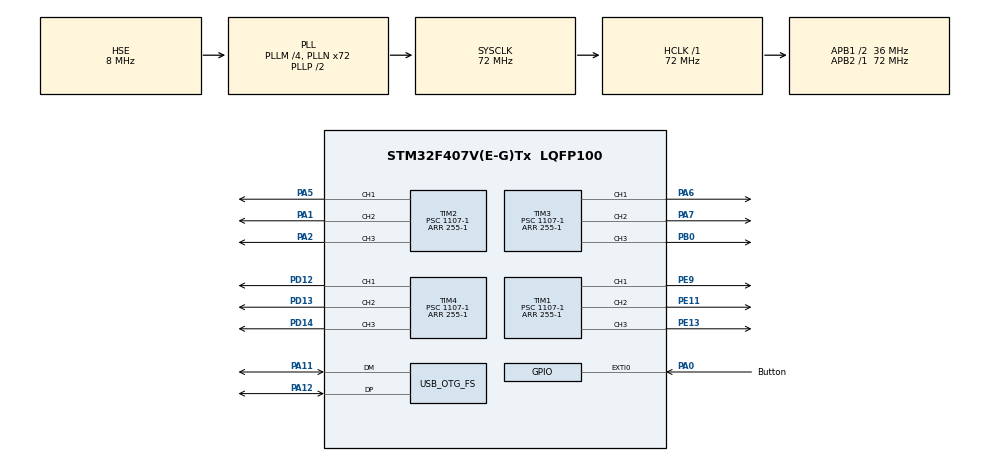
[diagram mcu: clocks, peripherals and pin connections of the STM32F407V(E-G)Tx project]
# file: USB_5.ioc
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Mcu.Family=STM32F4
Mcu.Name=STM32F407V(E-G)Tx
Mcu.Package=LQFP100
NVIC.EXTI0_IRQn=true\:0\:0\:false\:false\:true\:true\:true
NVIC.OTG_FS_IRQn=true\:0\:0\:false\:false\:true\:false\:true
NVIC.PriorityGroup=NVIC_PRIORITYGROUP_4
PA0-WKUP.GPIO_Label=Button
PA0-WKUP.Signal=GPXTI0
PA1.Signal=S_TIM2_CH2
PA11.Mode=Device_Only
PA11.Signal=USB_OTG_FS_DM
PA12.Mode=Device_Only
PA12.Signal=USB_OTG_FS_DP
PA2.Signal=S_TIM2_CH3
PA5.Signal=S_TIM2_CH1_ETR
PA6.Signal=S_TIM3_CH1
PA7.Signal=S_TIM3_CH2
PB0.Signal=S_TIM3_CH3
PD12.Signal=S_TIM4_CH1
PD13.Signal=S_TIM4_CH2
PD14.Signal=S_TIM4_CH3
PE11.Signal=S_TIM1_CH2
PE13.Signal=S_TIM1_CH3
PE9.Signal=S_TIM1_CH1
PH0-OSC_IN.Mode=HSE-External-Oscillator
PH0-OSC_IN.Signal=RCC_OSC_IN
PH1-OSC_OUT.Mode=HSE-External-Oscillator
PH1-OSC_OUT.Signal=RCC_OSC_OUT
ProjectManager.HeapSize=0x200
ProjectManager.StackSize=0x400
ProjectManager.TargetToolchain=SW4STM32
RCC.48MHZClocksFreq_Value=48000000
RCC.AHBFreq_Value=72000000
RCC.APB1CLKDivider=RCC_HCLK_DIV2
RCC.APB1Freq_Value=36000000
RCC.APB1TimFreq_Value=72000000
RCC.APB2Freq_Value=72000000
RCC.APB2TimFreq_Value=72000000
RCC.CortexFreq_Value=72000000
RCC.HCLKFreq_Value=72000000
RCC.HSE_VALUE=8000000
RCC.HSI_VALUE=16000000
RCC.LSE_VALUE=32768
RCC.PLLM=4
RCC.PLLN=72
RCC.PLLQ=3
RCC.SYSCLKFreq_VALUE=72000000
RCC.SYSCLKSource=RCC_SYSCLKSOURCE_PLLCLK
RCC.VCOOutputFreq_Value=144000000
SH.S_TIM1_CH1.0=TIM1_CH1,PWM Generation1 CH1
SH.S_TIM1_CH2.0=TIM1_CH2,PWM Generation2 CH2
SH.S_TIM1_CH3.0=TIM1_CH3,PWM Generation3 CH3
SH.S_TIM2_CH1_ETR.0=TIM2_CH1,PWM Generation1 CH1
SH.S_TIM2_CH2.0=TIM2_CH2,PWM Generation2 CH2
SH.S_TIM2_CH3.0=TIM2_CH3,PWM Generation3 CH3
SH.S_TIM3_CH1.0=TIM3_CH1,PWM Generation1 CH1
SH.S_TIM3_CH2.0=TIM3_CH2,PWM Generation2 CH2
SH.S_TIM3_CH3.0=TIM3_CH3,PWM Generation3 CH3
SH.S_TIM4_CH1.0=TIM4_CH1,PWM Generation1 CH1
SH.S_TIM4_CH2.0=TIM4_CH2,PWM Generation2 CH2
SH.S_TIM4_CH3.0=TIM4_CH3,PWM Generation3 CH3
TIM1.Channel-PWM\ Generation1\ CH1=TIM_CHANNEL_1
TIM1.Channel-PWM\ Generation2\ CH2=TIM_CHANNEL_2
TIM1.Channel-PWM\ Generation3\ CH3=TIM_CHANNEL_3
TIM1.Period=255-1
TIM1.Prescaler=1107-1
TIM2.Channel-PWM\ Generation1\ CH1=TIM_CHANNEL_1
TIM2.Channel-PWM\ Generation2\ CH2=TIM_CHANNEL_2
TIM2.Channel-PWM\ Generation3\ CH3=TIM_CHANNEL_3
TIM2.Period=255-1
TIM2.Prescaler=1107-1
TIM3.Channel-PWM\ Generation1\ CH1=TIM_CHANNEL_1
TIM3.Channel-PWM\ Generation2\ CH2=TIM_CHANNEL_2
TIM3.Channel-PWM\ Generation3\ CH3=TIM_CHANNEL_3
TIM3.Period=255-1
TIM3.Prescaler=1107-1
TIM4.Channel-PWM\ Generation1\ CH1=TIM_CHANNEL_1
TIM4.Channel-PWM\ Generation2\ CH2=TIM_CHANNEL_2
TIM4.Channel-PWM\ Generation3\ CH3=TIM_CHANNEL_3
TIM4.Period=255-1
TIM4.Prescaler=1107-1
USB_DEVICE.CLASS_NAME_FS=CDC
USB_DEVICE.VirtualMode-CDC_FS=Cdc
USB_DEVICE.VirtualModeFS=Cdc_FS
USB_OTG_FS.VirtualMode=Device_Only
VP_TIM1_VS_ClockSourceINT.Mode=Internal
VP_TIM2_VS_ClockSourceINT.Mode=Internal
VP_TIM3_VS_ClockSourceINT.Mode=Internal
VP_TIM4_VS_ClockSourceINT.Mode=Internal
VP_USB_DEVICE_VS_USB_DEVICE_CDC_FS.Mode=CDC_FS
board=custom

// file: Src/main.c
/* USER CODE BEGIN Header */
/**
  ******************************************************************************
  * @file           : main.c
  * @brief          : Main program body
  ******************************************************************************
  * @attention
  *
  * <h2><center>&copy; Copyright (c) 2019 STMicroelectronics.
  * All rights reserved.</center></h2>
  *
  * This software component is licensed by ST under Ultimate Liberty license
  * SLA0044, the "License"; You may not use this file except in compliance with
  * the License. You may obtain a copy of the License at:
  *                             www.st.com/SLA0044
  *
  ******************************************************************************
  */
/* USER CODE END Header */

#include "main.h"
#include "usb_device.h"

TIM_HandleTypeDef htim1;
TIM_HandleTypeDef htim2;
TIM_HandleTypeDef htim3;
TIM_HandleTypeDef htim4;

void SystemClock_Config(void);
static void MX_GPIO_Init(void);
static void MX_TIM1_Init(void);
static void MX_TIM2_Init(void);
static void MX_TIM3_Init(void);
static void MX_TIM4_Init(void);

/* USER CODE BEGIN 0 */
void rgb_set_1 (uint8_t r1, uint8_t g1, uint8_t b1)
{
	htim1.Instance->CCR1 = r1;
	htim1.Instance->CCR2 = g1;
	htim1.Instance->CCR3 = b1;

}

void rgb_set_2 (uint8_t r2, uint8_t g2, uint8_t b2)
{
	htim2.Instance->CCR1 = r2;
	htim2.Instance->CCR2 = g2;
	htim2.Instance->CCR3 = b2;

}

void rgb_set_3 (uint8_t r3, uint8_t g3, uint8_t b3)
{
	htim3.Instance->CCR1 = r3;
	htim3.Instance->CCR2 = g3;
	htim3.Instance->CCR3 = b3;

}

void rgb_set_4 (uint8_t r4, uint8_t g4, uint8_t b4)
{
	htim4.Instance->CCR1 = r4;
	htim4.Instance->CCR2 = g4;
	htim4.Instance->CCR3 = b4;

}

/* USER CODE END 0 */

int main(void)
{

  /* MCU Configuration--------------------------------------------------------*/

  /* Reset of all peripherals, Initializes the Flash interface and the Systick. */
  HAL_Init();

  /* Configure the system clock */
  SystemClock_Config();

  /* Initialize all configured peripherals */
  MX_GPIO_Init();
  MX_TIM1_Init();
  MX_USB_DEVICE_Init();
  MX_TIM2_Init();
  MX_TIM3_Init();
  MX_TIM4_Init();
  /* USER CODE BEGIN 2 */
  HAL_TIM_PWM_Start (&htim1, TIM_CHANNEL_1);
  HAL_TIM_PWM_Start (&htim1, TIM_CHANNEL_2);
  HAL_TIM_PWM_Start (&htim1, TIM_CHANNEL_3);
  HAL_TIM_PWM_Start (&htim2, TIM_CHANNEL_1);
  HAL_TIM_PWM_Start (&htim2, TIM_CHANNEL_2);
  HAL_TIM_PWM_Start (&htim2, TIM_CHANNEL_3);
  HAL_TIM_PWM_Start (&htim3, TIM_CHANNEL_1);
  HAL_TIM_PWM_Start (&htim3, TIM_CHANNEL_2);
  HAL_TIM_PWM_Start (&htim3, TIM_CHANNEL_3);
  HAL_TIM_PWM_Start (&htim4, TIM_CHANNEL_1);
  HAL_TIM_PWM_Start (&htim4, TIM_CHANNEL_2);
  HAL_TIM_PWM_Start (&htim4, TIM_CHANNEL_3);
  /* USER CODE END 2 */

  /* Infinite loop */
  while (1)
  {

    /* USER CODE BEGIN 3 */
	 rgb_set_1 (255,125,235);
	 HAL_Delay (100);
	 rgb_set_1 (10,15,150);
	 HAL_Delay (100);
	 rgb_set_2 (255,125,235);
	 HAL_Delay (100);
	 rgb_set_2 (10,15,150);
	 HAL_Delay (100);
	 rgb_set_3 (255,125,235);
	 HAL_Delay (100);
	 rgb_set_3 (10,15,150);
	 HAL_Delay (100);
	rgb_set_4 (255,125,235);
	HAL_Delay (100);
	rgb_set_4 (10,15,150);
	HAL_Delay (100);

  }
  /* USER CODE END 3 */
}

void SystemClock_Config(void)
{
  RCC_OscInitTypeDef RCC_OscInitStruct = {0};
  RCC_ClkInitTypeDef RCC_ClkInitStruct = {0};

  /** Configure the main internal regulator output voltage
  */
  __HAL_RCC_PWR_CLK_ENABLE();
  __HAL_PWR_VOLTAGESCALING_CONFIG(PWR_REGULATOR_VOLTAGE_SCALE1);
  /** Initializes the CPU, AHB and APB busses clocks
  */
  RCC_OscInitStruct.OscillatorType = RCC_OSCILLATORTYPE_HSE;
  RCC_OscInitStruct.HSEState = RCC_HSE_ON;
  RCC_OscInitStruct.PLL.PLLState = RCC_PLL_ON;
  RCC_OscInitStruct.PLL.PLLSource = RCC_PLLSOURCE_HSE;
  RCC_OscInitStruct.PLL.PLLM = 4;
  RCC_OscInitStruct.PLL.PLLN = 72;
  RCC_OscInitStruct.PLL.PLLP = RCC_PLLP_DIV2;
  RCC_OscInitStruct.PLL.PLLQ = 3;
  if (HAL_RCC_OscConfig(&RCC_OscInitStruct) != HAL_OK)
  {
    Error_Handler();
  }
  /** Initializes the CPU, AHB and APB busses clocks
  */
  RCC_ClkInitStruct.ClockType = RCC_CLOCKTYPE_HCLK|RCC_CLOCKTYPE_SYSCLK
                              |RCC_CLOCKTYPE_PCLK1|RCC_CLOCKTYPE_PCLK2;
  RCC_ClkInitStruct.SYSCLKSource = RCC_SYSCLKSOURCE_PLLCLK;
  RCC_ClkInitStruct.AHBCLKDivider = RCC_SYSCLK_DIV1;
  RCC_ClkInitStruct.APB1CLKDivider = RCC_HCLK_DIV2;
  RCC_ClkInitStruct.APB2CLKDivider = RCC_HCLK_DIV1;

  if (HAL_RCC_ClockConfig(&RCC_ClkInitStruct, FLASH_LATENCY_2) != HAL_OK)
  {
    Error_Handler();
  }
}

static void MX_TIM1_Init(void)
{

  TIM_ClockConfigTypeDef sClockSourceConfig = {0};
  TIM_MasterConfigTypeDef sMasterConfig = {0};
  TIM_OC_InitTypeDef sConfigOC = {0};
  TIM_BreakDeadTimeConfigTypeDef sBreakDeadTimeConfig = {0};

  htim1.Instance = TIM1;
  htim1.Init.Prescaler = 1107-1;
  htim1.Init.CounterMode = TIM_COUNTERMODE_UP;
  htim1.Init.Period = 255-1;
  htim1.Init.ClockDivision = TIM_CLOCKDIVISION_DIV1;
  htim1.Init.RepetitionCounter = 0;
  htim1.Init.AutoReloadPreload = TIM_AUTORELOAD_PRELOAD_DISABLE;
  if (HAL_TIM_Base_Init(&htim1) != HAL_OK)
  {
    Error_Handler();
  }
  sClockSourceConfig.ClockSource = TIM_CLOCKSOURCE_INTERNAL;
  if (HAL_TIM_ConfigClockSource(&htim1, &sClockSourceConfig) != HAL_OK)
  {
    Error_Handler();
  }
  if (HAL_TIM_PWM_Init(&htim1) != HAL_OK)
  {
    Error_Handler();
  }
  sMasterConfig.MasterOutputTrigger = TIM_TRGO_RESET;
  sMasterConfig.MasterSlaveMode = TIM_MASTERSLAVEMODE_DISABLE;
  if (HAL_TIMEx_MasterConfigSynchronization(&htim1, &sMasterConfig) != HAL_OK)
  {
    Error_Handler();
  }
  sConfigOC.OCMode = TIM_OCMODE_PWM1;
  sConfigOC.Pulse = 0;
  sConfigOC.OCPolarity = TIM_OCPOLARITY_HIGH;
  sConfigOC.OCNPolarity = TIM_OCNPOLARITY_HIGH;
  sConfigOC.OCFastMode = TIM_OCFAST_DISABLE;
  sConfigOC.OCIdleState = TIM_OCIDLESTATE_RESET;
  sConfigOC.OCNIdleState = TIM_OCNIDLESTATE_RESET;
  if (HAL_TIM_PWM_ConfigChannel(&htim1, &sConfigOC, TIM_CHANNEL_1) != HAL_OK)
  {
    Error_Handler();
  }
  if (HAL_TIM_PWM_ConfigChannel(&htim1, &sConfigOC, TIM_CHANNEL_2) != HAL_OK)
  {
    Error_Handler();
  }
  if (HAL_TIM_PWM_ConfigChannel(&htim1, &sConfigOC, TIM_CHANNEL_3) != HAL_OK)
  {
    Error_Handler();
  }
  sBreakDeadTimeConfig.OffStateRunMode = TIM_OSSR_DISABLE;
  sBreakDeadTimeConfig.OffStateIDLEMode = TIM_OSSI_DISABLE;
  sBreakDeadTimeConfig.LockLevel = TIM_LOCKLEVEL_OFF;
  sBreakDeadTimeConfig.DeadTime = 0;
  sBreakDeadTimeConfig.BreakState = TIM_BREAK_DISABLE;
  sBreakDeadTimeConfig.BreakPolarity = TIM_BREAKPOLARITY_HIGH;
  sBreakDeadTimeConfig.AutomaticOutput = TIM_AUTOMATICOUTPUT_DISABLE;
  if (HAL_TIMEx_ConfigBreakDeadTime(&htim1, &sBreakDeadTimeConfig) != HAL_OK)
  {
    Error_Handler();
  }
  HAL_TIM_MspPostInit(&htim1);

}

static void MX_TIM2_Init(void)
{

  TIM_ClockConfigTypeDef sClockSourceConfig = {0};
  TIM_MasterConfigTypeDef sMasterConfig = {0};
  TIM_OC_InitTypeDef sConfigOC = {0};

  htim2.Instance = TIM2;
  htim2.Init.Prescaler = 1107-1;
  htim2.Init.CounterMode = TIM_COUNTERMODE_UP;
  htim2.Init.Period = 255-1;
  htim2.Init.ClockDivision = TIM_CLOCKDIVISION_DIV1;
  htim2.Init.AutoReloadPreload = TIM_AUTORELOAD_PRELOAD_DISABLE;
  if (HAL_TIM_Base_Init(&htim2) != HAL_OK)
  {
    Error_Handler();
  }
  sClockSourceConfig.ClockSource = TIM_CLOCKSOURCE_INTERNAL;
  if (HAL_TIM_ConfigClockSource(&htim2, &sClockSourceConfig) != HAL_OK)
  {
    Error_Handler();
  }
  if (HAL_TIM_PWM_Init(&htim2) != HAL_OK)
  {
    Error_Handler();
  }
  sMasterConfig.MasterOutputTrigger = TIM_TRGO_RESET;
  sMasterConfig.MasterSlaveMode = TIM_MASTERSLAVEMODE_DISABLE;
  if (HAL_TIMEx_MasterConfigSynchronization(&htim2, &sMasterConfig) != HAL_OK)
  {
    Error_Handler();
  }
  sConfigOC.OCMode = TIM_OCMODE_PWM1;
  sConfigOC.Pulse = 0;
  sConfigOC.OCPolarity = TIM_OCPOLARITY_HIGH;
  sConfigOC.OCFastMode = TIM_OCFAST_DISABLE;
  if (HAL_TIM_PWM_ConfigChannel(&htim2, &sConfigOC, TIM_CHANNEL_1) != HAL_OK)
  {
    Error_Handler();
  }
  if (HAL_TIM_PWM_ConfigChannel(&htim2, &sConfigOC, TIM_CHANNEL_2) != HAL_OK)
  {
    Error_Handler();
  }
  if (HAL_TIM_PWM_ConfigChannel(&htim2, &sConfigOC, TIM_CHANNEL_3) != HAL_OK)
  {
    Error_Handler();
  }
  HAL_TIM_MspPostInit(&htim2);

}

static void MX_TIM3_Init(void)
{

  TIM_ClockConfigTypeDef sClockSourceConfig = {0};
  TIM_MasterConfigTypeDef sMasterConfig = {0};
  TIM_OC_InitTypeDef sConfigOC = {0};

  htim3.Instance = TIM3;
  htim3.Init.Prescaler = 1107-1;
  htim3.Init.CounterMode = TIM_COUNTERMODE_UP;
  htim3.Init.Period = 255-1;
  htim3.Init.ClockDivision = TIM_CLOCKDIVISION_DIV1;
  htim3.Init.AutoReloadPreload = TIM_AUTORELOAD_PRELOAD_DISABLE;
  if (HAL_TIM_Base_Init(&htim3) != HAL_OK)
  {
    Error_Handler();
  }
  sClockSourceConfig.ClockSource = TIM_CLOCKSOURCE_INTERNAL;
  if (HAL_TIM_ConfigClockSource(&htim3, &sClockSourceConfig) != HAL_OK)
  {
    Error_Handler();
  }
  if (HAL_TIM_PWM_Init(&htim3) != HAL_OK)
  {
    Error_Handler();
  }
  sMasterConfig.MasterOutputTrigger = TIM_TRGO_RESET;
  sMasterConfig.MasterSlaveMode = TIM_MASTERSLAVEMODE_DISABLE;
  if (HAL_TIMEx_MasterConfigSynchronization(&htim3, &sMasterConfig) != HAL_OK)
  {
    Error_Handler();
  }
  sConfigOC.OCMode = TIM_OCMODE_PWM1;
  sConfigOC.Pulse = 0;
  sConfigOC.OCPolarity = TIM_OCPOLARITY_HIGH;
  sConfigOC.OCFastMode = TIM_OCFAST_DISABLE;
  if (HAL_TIM_PWM_ConfigChannel(&htim3, &sConfigOC, TIM_CHANNEL_1) != HAL_OK)
  {
    Error_Handler();
  }
  if (HAL_TIM_PWM_ConfigChannel(&htim3, &sConfigOC, TIM_CHANNEL_2) != HAL_OK)
  {
    Error_Handler();
  }
  if (HAL_TIM_PWM_ConfigChannel(&htim3, &sConfigOC, TIM_CHANNEL_3) != HAL_OK)
  {
    Error_Handler();
  }
  HAL_TIM_MspPostInit(&htim3);

}

static void MX_TIM4_Init(void)
{

  TIM_ClockConfigTypeDef sClockSourceConfig = {0};
  TIM_MasterConfigTypeDef sMasterConfig = {0};
  TIM_OC_InitTypeDef sConfigOC = {0};

  htim4.Instance = TIM4;
  htim4.Init.Prescaler = 1107-1;
  htim4.Init.CounterMode = TIM_COUNTERMODE_UP;
  htim4.Init.Period = 255-1;
  htim4.Init.ClockDivision = TIM_CLOCKDIVISION_DIV1;
  htim4.Init.AutoReloadPreload = TIM_AUTORELOAD_PRELOAD_DISABLE;
  if (HAL_TIM_Base_Init(&htim4) != HAL_OK)
  {
    Error_Handler();
  }
  sClockSourceConfig.ClockSource = TIM_CLOCKSOURCE_INTERNAL;
  if (HAL_TIM_ConfigClockSource(&htim4, &sClockSourceConfig) != HAL_OK)
  {
    Error_Handler();
  }
  if (HAL_TIM_PWM_Init(&htim4) != HAL_OK)
  {
    Error_Handler();
  }
  sMasterConfig.MasterOutputTrigger = TIM_TRGO_RESET;
  sMasterConfig.MasterSlaveMode = TIM_MASTERSLAVEMODE_DISABLE;
  if (HAL_TIMEx_MasterConfigSynchronization(&htim4, &sMasterConfig) != HAL_OK)
  {
    Error_Handler();
  }
  sConfigOC.OCMode = TIM_OCMODE_PWM1;
  sConfigOC.Pulse = 0;
  sConfigOC.OCPolarity = TIM_OCPOLARITY_HIGH;
  sConfigOC.OCFastMode = TIM_OCFAST_DISABLE;
  if (HAL_TIM_PWM_ConfigChannel(&htim4, &sConfigOC, TIM_CHANNEL_1) != HAL_OK)
  {
    Error_Handler();
  }
  if (HAL_TIM_PWM_ConfigChannel(&htim4, &sConfigOC, TIM_CHANNEL_2) != HAL_OK)
  {
    Error_Handler();
  }
  if (HAL_TIM_PWM_ConfigChannel(&htim4, &sConfigOC, TIM_CHANNEL_3) != HAL_OK)
  {
    Error_Handler();
  }
  HAL_TIM_MspPostInit(&htim4);

}

static void MX_GPIO_Init(void)
{
  GPIO_InitTypeDef GPIO_InitStruct = {0};

  /* GPIO Ports Clock Enable */
  __HAL_RCC_GPIOH_CLK_ENABLE();
  __HAL_RCC_GPIOA_CLK_ENABLE();
  __HAL_RCC_GPIOB_CLK_ENABLE();
  __HAL_RCC_GPIOE_CLK_ENABLE();
  __HAL_RCC_GPIOD_CLK_ENABLE();

  /*Configure GPIO pin : Button_Pin */
  GPIO_InitStruct.Pin = Button_Pin;
  GPIO_InitStruct.Mode = GPIO_MODE_IT_RISING;
  GPIO_InitStruct.Pull = GPIO_NOPULL;
  HAL_GPIO_Init(Button_GPIO_Port, &GPIO_InitStruct);

  /* EXTI interrupt init*/
  HAL_NVIC_SetPriority(EXTI0_IRQn, 0, 0);
  HAL_NVIC_EnableIRQ(EXTI0_IRQn);

}

void Error_Handler(void)
{
}

/************************ (C) COPYRIGHT STMicroelectronics *****END OF FILE****/
